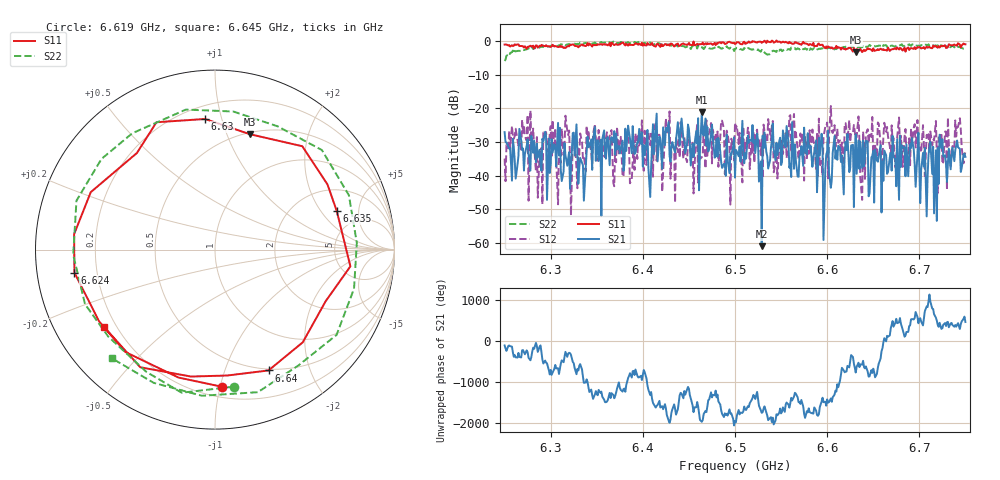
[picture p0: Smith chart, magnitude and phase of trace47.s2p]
# Hz S RI R 50
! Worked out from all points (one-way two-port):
!   401 points, 6.25 GHz to 6.75 GHz, reference 50 ohm
!   highest |S21| = -21.26 dB at 6.464 GHz (marker M1); lowest = -61.0 dB at 6.529 GHz (marker M2)
!   lowest |S11| = -3.5 dB at 6.631 GHz (marker M3), VSWR 5.09, Z = 25.8 + j60.4 ohm
!   |S11| at or under -10 dB: nowhere
!   |S22| runs from -6.0 to -0.2 dB; largest |S21 - S12| = 0.12
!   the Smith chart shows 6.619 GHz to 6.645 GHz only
!   S11 on the Smith chart (normalised r, x): 6.619 GHz: 0.27, -1.02; 6.624 GHz: 0.12, -0.08; 6.63 GHz: 0.28, +0.89; 6.635 GHz: 3.32, +2.87; 6.64 GHz: 0.48, -1.42; 6.645 GHz: 0.15, -0.31
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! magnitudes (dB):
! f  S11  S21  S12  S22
! 6.25 GHz  -1.1  -27.1  -35.0  -6.0
! 6.272 GHz  -1.6  -33.6  -28.3  -2.6
! 6.289 GHz  -1.6  -36.7  -36.4  -1.7
! 6.298 GHz  -1.6  -29.0  -33.9  -1.6
! 6.326 GHz  -1.5  -34.1  -29.1  -0.9
! 6.334 GHz  -1.0  -36.3  -30.0  -0.8
! 6.418 GHz  -1.5  -28.5  -27.9  -0.7
! 6.464 GHz  -1.0  -21.3  -34.6  -2.0
! 6.5 GHz  -0.9  -40.6  -24.3  -2.4
! 6.521 GHz  -0.2  -29.4  -36.2  -2.5
! 6.529 GHz  -0.6  -61.0  -29.2  -2.7
! 6.532 GHz  0.1  -27.2  -26.8  -3.5
! 6.584 GHz  -1.3  -37.4  -26.3  -2.6
! 6.619 GHz  -2.3  -33.5  -24.5  -2.3
! 6.624 GHz  -2.0  -39.0  -23.5  -2.1
! 6.63 GHz  -2.7  -33.5  -27.1  -2.0
! 6.631 GHz  -3.5  -27.8  -29.0  -2.2
! 6.635 GHz  -3.0  -38.0  -29.5  -1.9
! 6.64 GHz  -2.7  -37.2  -31.2  -2.0
! 6.645 GHz  -2.5  -46.2  -30.4  -1.6
! 6.668 GHz  -3.0  -34.5  -31.4  -1.2
! 6.75 GHz  -1.0  -34.4  -33.2  -2.2
